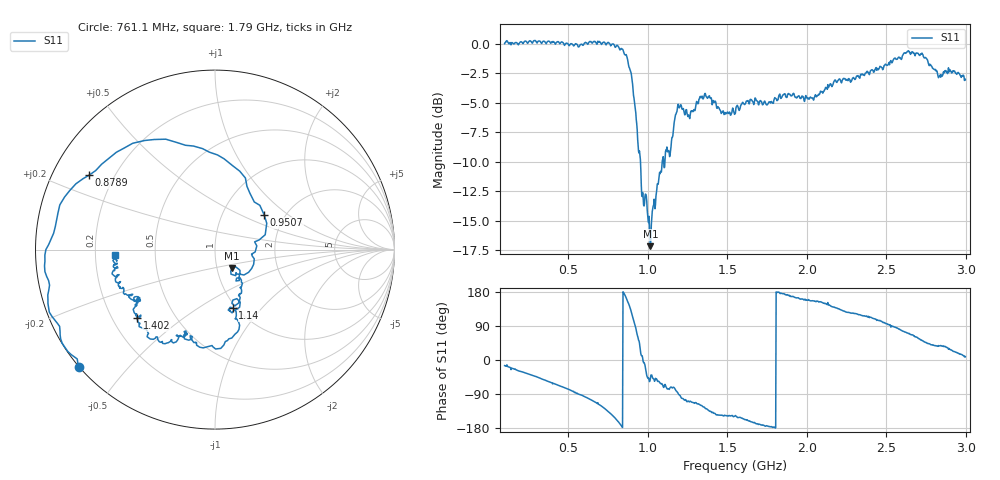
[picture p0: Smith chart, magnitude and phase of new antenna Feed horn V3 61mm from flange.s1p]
# HZ S RI R 50
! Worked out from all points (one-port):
!   1009 points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, 100 MHz to 2.997 GHz, reference 50 ohm
!   lowest |S11| = -17.2 dB at 1.017 GHz (marker M1), VSWR 1.32, Z = 58.8 - j12.3 ohm
!   |S11| at or under -10 dB: 954.3 MHz to 1.091 GHz (136.9 MHz wide, 13.4 % of centre); 1.1 GHz to 1.108 GHz (8.081 MHz wide, 0.732 % of centre)
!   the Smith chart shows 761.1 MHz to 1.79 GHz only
!   S11 on the Smith chart (normalised r, x): 761.1 MHz: -0.00, -0.37; 878.9 MHz: 0.11, +0.27; 950.7 MHz: 1.57, +0.68; 1.14 GHz: 0.96, -0.71; 1.402 GHz: 0.30, -0.35; 1.79 GHz: 0.28, -0.02
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1e8  0.9687 -0.2555
2.95441e8  0.747 -0.7047
4.621408e8  0.337 -0.9599
6.489594e8  -0.2837 -0.9667
7.610506e8  -0.757 -0.6537
8.242815e8  -0.9217 -0.1981
8.530228e8  -0.8991 0.0913
8.7889e8  -0.7017 0.4144
9.105055e8  -0.1643 0.5812
9.306244e8  0.1378 0.437
9.507434e8  0.2741 0.1931
9.85233e8  0.2153 -0.0824
1.016848e9  0.0928 -0.1029
1.082953e9  0.1315 -0.2562
1.140436e9  0.0988 -0.3246
1.186422e9  0.0497 -0.531
1.220912e9  -0.1065 -0.5158
1.333003e9  -0.294 -0.5157
1.401982e9  -0.4343 -0.3814
1.548563e9  -0.4248 -0.2726
1.78999e9  -0.5587 -0.0293
1.910704e9  -0.5964 0.1253
2.132012e9  -0.5903 0.3194
2.272845e9  -0.3906 0.5715
2.456789e9  -0.1885 0.7672
2.634985e9  0.304 0.878
2.744202e9  0.599 0.6369
2.997126e9  0.6963 0.1057
